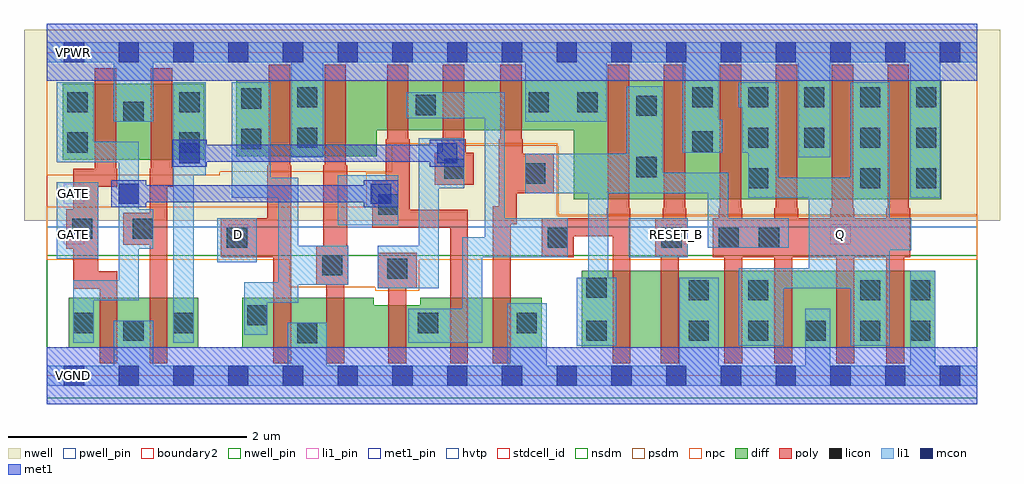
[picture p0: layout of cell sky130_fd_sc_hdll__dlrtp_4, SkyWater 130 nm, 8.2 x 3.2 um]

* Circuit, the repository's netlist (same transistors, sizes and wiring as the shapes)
* Copyright 2020 The SkyWater PDK Authors
*
* Licensed under the Apache License, Version 2.0 (the "License");
* you may not use this file except in compliance with the License.
* You may obtain a copy of the License at
*
*     https://www.apache.org/licenses/LICENSE-2.0
*
* Unless required by applicable law or agreed to in writing, software
* distributed under the License is distributed on an "AS IS" BASIS,
* WITHOUT WARRANTIES OR CONDITIONS OF ANY KIND, either express or implied.
* See the License for the specific language governing permissions and
* limitations under the License.
*
* SPDX-License-Identifier: Apache-2.0

.SUBCKT sky130_fd_sc_hdll__dlrtp_4 D GATE RESET_B VGND VNB VPB VPWR Q
*.PININFO D:I GATE:I RESET_B:I VGND:I VNB:I VPB:I VPWR:I Q:O
MI635 clkpos clkneg VPWR VPB sky130_fd_pr__pfet_01v8_hvt m=1 w=0.64U l=0.18U mult=1
+ sa=0.265 sb=0.265 sd=0.28 area=0.063 perim=1.14
MI17 M0 clkneg net54 VPB sky130_fd_pr__pfet_01v8_hvt m=1 w=0.42U l=0.18U mult=1
+ sa=0.265 sb=0.265 sd=0.28 area=0.063 perim=1.14
MI650 Q m1 VPWR VPB sky130_fd_pr__pfet_01v8_hvt m=4 w=1.0U l=0.18U mult=1 sa=0.265
+ sb=0.265 sd=0.28 area=0.063 perim=1.14
MI633 clkneg GATE VPWR VPB sky130_fd_pr__pfet_01v8_hvt m=1 w=0.64U l=0.18U mult=1
+ sa=0.265 sb=0.265 sd=0.28 area=0.063 perim=1.14
MI658 m1 RESET_B VPWR VPB sky130_fd_pr__pfet_01v8_hvt m=1 w=1.0U l=0.18U mult=1
+ sa=0.265 sb=0.265 sd=0.28 area=0.063 perim=1.14
MI18 net54 db VPWR VPB sky130_fd_pr__pfet_01v8_hvt m=1 w=0.64U l=0.18U mult=1 sa=0.265
+ sb=0.265 sd=0.28 area=0.063 perim=1.14
MI653 net50 m1 VPWR VPB sky130_fd_pr__pfet_01v8_hvt m=1 w=0.42U l=0.18U mult=1
+ sa=0.265 sb=0.265 sd=0.28 area=0.063 perim=1.14
MI651 M0 clkpos net50 VPB sky130_fd_pr__pfet_01v8_hvt m=1 w=0.42U l=0.18U mult=1
+ sa=0.265 sb=0.265 sd=0.28 area=0.063 perim=1.14
MI655 m1 M0 VPWR VPB sky130_fd_pr__pfet_01v8_hvt m=1 w=1.0U l=0.18U mult=1 sa=0.265
+ sb=0.265 sd=0.28 area=0.063 perim=1.14
MI638 db D VPWR VPB sky130_fd_pr__pfet_01v8_hvt m=1 w=0.64U l=0.18U mult=1 sa=0.265
+ sb=0.265 sd=0.28 area=0.063 perim=1.14
MI634 clkneg GATE VGND VNB sky130_fd_pr__nfet_01v8 m=1 w=0.42U l=0.15U mult=1 sa=0.265
+ sb=0.265 sd=0.28 area=0.063 perim=1.14
MI649 Q m1 VGND VNB sky130_fd_pr__nfet_01v8 m=4 w=0.65U l=0.15U mult=1 sa=0.265
+ sb=0.265 sd=0.28 area=0.063 perim=1.14
MI657 net93 RESET_B VGND VNB sky130_fd_pr__nfet_01v8 m=1 w=0.65U l=0.15U mult=1
+ sa=0.265 sb=0.265 sd=0.28 area=0.063 perim=1.14
MI652 M0 clkneg net101 VNB sky130_fd_pr__nfet_01v8 m=1 w=0.42U l=0.15U mult=1 sa=0.265
+ sb=0.265 sd=0.28 area=0.063 perim=1.14
MI654 net101 m1 VGND VNB sky130_fd_pr__nfet_01v8 m=1 w=0.42U l=0.15U mult=1 sa=0.265
+ sb=0.265 sd=0.28 area=0.063 perim=1.14
MI656 m1 M0 net93 VNB sky130_fd_pr__nfet_01v8 m=1 w=0.65U l=0.15U mult=1 sa=0.265
+ sb=0.265 sd=0.28 area=0.063 perim=1.14
MI636 clkpos clkneg VGND VNB sky130_fd_pr__nfet_01v8 m=1 w=0.42U l=0.15U mult=1
+ sa=0.265 sb=0.265 sd=0.28 area=0.063 perim=1.14
MI637 db D VGND VNB sky130_fd_pr__nfet_01v8 m=1 w=0.42U l=0.15U mult=1 sa=0.265
+ sb=0.265 sd=0.28 area=0.063 perim=1.14
MI19 M0 clkpos net81 VNB sky130_fd_pr__nfet_01v8 m=1 w=0.36U l=0.15U mult=1 sa=0.265
+ sb=0.265 sd=0.28 area=0.063 perim=1.14
MI20 net81 db VGND VNB sky130_fd_pr__nfet_01v8 m=1 w=0.42U l=0.15U mult=1 sa=0.265
+ sb=0.265 sd=0.28 area=0.063 perim=1.14
.ENDS sky130_fd_sc_hdll__dlrtp_4

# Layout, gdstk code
import gdstk
lib = gdstk.Library(unit=1e-6, precision=1e-09)
def R(c, l, rs):  # rectangles x0, y0, x1, y1
    for r in rs: c.add(gdstk.rectangle(r[:2], r[2:], *l))
def A(c, l, x, y, w, h, nx, ny, dx, dy):  # array of equal rectangles
    R(c, l, [(x+i*dx, y+j*dy, x+i*dx+w, y+j*dy+h) for i in range(nx) for j in range(ny)])
def P(c, l, *ps):  # polygons
    for p in ps: c.add(gdstk.Polygon(p, *l))
nwell_pin = (64, 16)
nwell = (64, 20)
diff = (65, 20)
poly = (66, 20)
licon = (66, 44)
li1_pin = (67, 16)
li1 = (67, 20)
mcon = (67, 44)
met1_pin = (68, 16)
met1 = (68, 20)
hvtp = (78, 44)
stdcell_id = (81, 4)
nsdm = (93, 44)
psdm = (94, 20)
npc = (95, 20)
pwell_pin = (122, 16)
boundary2 = (236, 0)

sky130_fd_sc_hdll__dlrtp = lib.new_cell('sky130_fd_sc_hdll__dlrtp_4')
R(sky130_fd_sc_hdll__dlrtp, nwell_pin, [(0.145,2.635,0.315,2.805), (0.145,2.635,0.315,2.805)])
R(sky130_fd_sc_hdll__dlrtp, nwell, [(-0.19,1.305,8.01,2.91)])
R(sky130_fd_sc_hdll__dlrtp, diff, [(0.185,0.235,1.275,0.655), (4.495,0.235,7.465,0.885), (0.135,1.815,1.325,2.455)])
P(sky130_fd_sc_hdll__dlrtp, diff, [(7.515,2.485),(1.595,2.485),(1.595,1.845),(2.775,1.845),(2.775,2.065),(4.43,2.065),(4.43,1.485),(7.515,1.485)],
  [(4.16,0.655),(3.14,0.655),(3.14,0.595),(2.75,0.595),(2.75,0.655),(1.645,0.655),(1.645,0.235),(4.16,0.235)])
R(sky130_fd_sc_hdll__dlrtp, poly, [(5.695,0.105,5.845,0.995), (6.115,0.105,6.265,0.995), (6.635,0.105,6.785,0.995), (7.055,0.105,7.205,0.995), (5.595,0.995,7.255,1.325)])
P(sky130_fd_sc_hdll__dlrtp, poly, [(0.595,1.74),(0.585,1.74),(0.585,2.585),(0.405,2.585),(0.405,1.74),(0.225,1.74),(0.225,1.4),(0.165,1.4),(0.165,1.07),(0.225,1.07),(0.225,0.73),(0.445,0.73),(0.445,0.105),(0.595,0.105),(0.595,0.88),(0.435,0.88),(0.435,1.59),(0.595,1.59)],
  [(1.065,1.74),(1.055,1.74),(1.055,2.585),(0.875,2.585),(0.875,1.74),(0.865,1.74),(0.865,1.37),(0.645,1.37),(0.645,1.1),(0.865,1.1),(0.865,0.105),(1.015,0.105),(1.015,1.59),(1.065,1.59)],
  [(2.055,1.77),(2.045,1.77),(2.045,2.615),(1.865,2.615),(1.865,1.77),(1.855,1.77),(1.855,1.325),(1.465,1.325),(1.465,0.995),(1.905,0.995),(1.905,0.105),(2.055,0.105)],
  [(2.535,1.095),(2.525,1.095),(2.525,1.77),(2.515,1.77),(2.515,2.615),(2.335,2.615),(2.335,1.77),(2.325,1.77),(2.325,1.095),(2.265,1.095),(2.265,0.765),(2.35,0.765),(2.35,0.105),(2.5,0.105),(2.5,0.765),(2.535,0.765)],
  [(3.11,1.035),(2.78,1.035),(2.78,0.735),(2.87,0.735),(2.87,0.105),(3.02,0.105),(3.02,0.735),(3.11,0.735)],
  [(3.54,1.395),(3.05,1.395),(3.05,1.99),(3.04,1.99),(3.04,2.615),(2.86,2.615),(2.86,1.99),(2.85,1.99),(2.85,1.635),(2.735,1.635),(2.735,1.245),(3.39,1.245),(3.39,0.105),(3.54,0.105)],
  [(3.59,1.875),(3.52,1.875),(3.52,1.99),(3.51,1.99),(3.51,2.615),(3.33,2.615),(3.33,1.99),(3.32,1.99),(3.32,1.875),(3.26,1.875),(3.26,1.605),(3.59,1.605)],
  [(4.26,1.865),(4,1.865),(4,1.99),(3.99,1.99),(3.99,2.615),(3.81,2.615),(3.81,1.99),(3.8,1.99),(3.8,1.425),(3.75,1.425),(3.75,0.105),(3.9,0.105),(3.9,1.275),(3.95,1.275),(3.95,1.535),(4.26,1.535)],
  [(4.905,1.41),(4.895,1.41),(4.895,2.615),(4.715,2.615),(4.715,1.41),(4.705,1.41),(4.705,1.325),(4.16,1.325),(4.16,0.995),(4.43,0.995),(4.43,1.175),(4.755,1.175),(4.755,0.105),(4.905,0.105)],
  [(5.385,1.325),(5.375,1.325),(5.375,1.41),(5.365,1.41),(5.365,2.615),(5.185,2.615),(5.185,1.41),(5.175,1.41),(5.175,1.325),(5.115,1.325),(5.115,0.995),(5.16,0.995),(5.16,0.105),(5.31,0.105),(5.31,0.995),(5.385,0.995)],
  [(5.845,1.41),(5.835,1.41),(5.835,2.615),(5.655,2.615),(5.655,1.41),(5.645,1.41),(5.645,1.325),(5.845,1.325)],
  [(7.055,1.41),(7.065,1.41),(7.065,2.615),(7.245,2.615),(7.245,1.41),(7.255,1.41),(7.255,1.325),(7.055,1.325)],
  [(6.785,1.41),(6.775,1.41),(6.775,2.615),(6.595,2.615),(6.595,1.41),(6.585,1.41),(6.585,1.325),(6.785,1.325)],
  [(6.115,1.41),(6.125,1.41),(6.125,2.615),(6.305,2.615),(6.305,1.41),(6.315,1.41),(6.315,1.325),(6.115,1.325)])
A(sky130_fd_sc_hdll__dlrtp, licon, 5.895, 1.915, 0.17, 0.17, 4, 1, 0.47, 0)
A(sky130_fd_sc_hdll__dlrtp, licon, 5.425, 2.255, 0.17, 0.17, 5, 1, 0.47, 0)
R(sky130_fd_sc_hdll__dlrtp, licon, [(2.105,0.275,2.275,0.445), (0.645,0.295,0.815,0.465), (4.535,0.295,4.705,0.465), (5.395,0.295,5.565,0.465), (5.895,0.295,6.065,0.465), (6.375,0.295,6.545,0.465), (6.835,0.295,7.005,0.465), (7.255,0.295,7.425,0.465), (0.225,0.36,0.395,0.53), (1.065,0.36,1.235,0.53), (3.12,0.36,3.29,0.53), (3.95,0.36,4.12,0.53), (1.685,0.425,1.855,0.595), (5.395,0.635,5.565,0.805), (5.895,0.635,6.065,0.805), (6.835,0.635,7.005,0.805), (7.255,0.635,7.425,0.805), (4.535,0.655,4.705,0.825), (2.86,0.815,3.03,0.985), (2.315,0.845,2.485,1.015), (1.515,1.075,1.685,1.245), (4.21,1.075,4.38,1.245), (5.165,1.075,5.335,1.245), (5.645,1.075,5.815,1.245), (5.985,1.075,6.155,1.245), (0.215,1.15,0.385,1.32), (0.725,1.15,0.895,1.32), (2.785,1.355,2.955,1.525), (5.895,1.575,6.065,1.745), (6.835,1.575,7.005,1.745), (7.305,1.575,7.475,1.745), (4.02,1.615,4.19,1.785), (3.34,1.655,3.51,1.825), (4.955,1.67,5.125,1.84), (0.175,1.875,0.345,2.045), (1.115,1.875,1.285,2.045), (5.425,1.885,5.595,2.055), (1.635,1.905,1.805,2.075), (2.105,1.915,2.275,2.085), (0.645,2.135,0.815,2.305), (4.955,2.185,5.125,2.355), (3.1,2.19,3.27,2.36), (0.175,2.215,0.345,2.385), (1.115,2.215,1.285,2.385), (4.05,2.215,4.22,2.385), (4.46,2.215,4.63,2.385), (1.635,2.245,1.805,2.415), (2.105,2.255,2.275,2.425)])
R(sky130_fd_sc_hdll__dlrtp, li1_pin, [(0.145,1.105,0.315,1.275), (1.525,1.105,1.695,1.275), (5.205,1.105,5.375,1.275), (6.585,1.105,6.755,1.275), (0.145,1.445,0.315,1.615)])
R(sky130_fd_sc_hdll__dlrtp, li1, [(6.375,0.085,6.585,0.565), (7.255,0.085,7.465,0.885), (1.435,0.955,1.765,1.325), (0.085,0.985,0.435,1.625), (4.89,0.995,5.385,1.325), (2.445,1.265,2.955,1.685), (7.255,1.495,7.51,2.635), (6.315,1.835,6.585,2.635)])
P(sky130_fd_sc_hdll__dlrtp, li1, [(0.895,1.4),(0.775,1.4),(0.775,1.965),(0.395,1.965),(0.395,2.465),(0.085,2.465),(0.085,1.795),(0.605,1.795),(0.605,0.805),(0.225,0.805),(0.225,0.28),(0.395,0.28),(0.395,0.635),(0.775,0.635),(0.775,1.07),(0.895,1.07)],
  [(7.82,0.085),(5.645,0.085),(5.645,0.825),(5.315,0.825),(5.315,0.085),(4.2,0.085),(4.2,0.61),(3.87,0.61),(3.87,0.085),(2.355,0.085),(2.355,0.445),(2.025,0.445),(2.025,0.085),(0.895,0.085),(0.895,0.465),(0.565,0.465),(0.565,0.085),(0,0.085),(0,-0.085),(7.82,-0.085)],
  [(1.335,2.465),(1.065,2.465),(1.065,0.28),(1.235,0.28),(1.235,1.685),(1.335,1.685)],
  [(7.265,1.325),(7.085,1.325),(7.085,2.465),(6.755,2.465),(6.755,1.665),(6.145,1.665),(6.145,2.465),(5.815,2.465),(5.815,2.255),(5.845,2.255),(5.845,1.875),(5.895,1.875),(5.895,1.495),(6.405,1.495),(6.405,0.905),(5.815,0.905),(5.815,0.255),(6.195,0.255),(6.195,0.735),(6.755,0.735),(6.755,0.255),(7.085,0.255),(7.085,1.055),(7.265,1.055)],
  [(7.82,2.805),(0,2.805),(0,2.635),(0.565,2.635),(0.565,2.135),(0.895,2.135),(0.895,2.635),(2.055,2.635),(2.055,1.835),(2.325,1.835),(2.325,2.635),(4.02,2.635),(4.02,2.135),(4.705,2.135),(4.705,2.635),(5.345,2.635),(5.345,1.875),(5.675,1.875),(5.675,2.15),(5.645,2.15),(5.645,2.635),(7.82,2.635)],
  [(2.535,1.095),(2.115,1.095),(2.115,1.665),(1.885,1.665),(1.885,2.465),(1.555,2.465),(1.555,1.495),(1.945,1.495),(1.945,0.785),(1.66,0.785),(1.66,0.345),(1.855,0.345),(1.855,0.615),(2.115,0.615),(2.115,0.765),(2.535,0.765)],
  [(3.51,1.995),(3.125,1.995),(3.125,1.095),(2.78,1.095),(2.78,0.735),(3.295,0.735),(3.295,1.575),(3.51,1.575)],
  [(4.38,1.325),(3.85,1.325),(3.85,2.385),(3.02,2.385),(3.02,2.165),(3.68,2.165),(3.68,1.165),(3.49,1.165),(3.49,0.565),(3.04,0.565),(3.04,0.28),(3.66,0.28),(3.66,0.995),(4.38,0.995)],
  [(6.235,1.325),(5.725,1.325),(5.725,1.705),(5.175,1.705),(5.175,2.435),(4.875,2.435),(4.875,1.865),(4.02,1.865),(4.02,1.535),(4.55,1.535),(4.55,0.825),(4.455,0.825),(4.455,0.255),(4.785,0.255),(4.785,0.825),(4.72,0.825),(4.72,1.535),(5.555,1.535),(5.555,1.075),(6.235,1.075)])
A(sky130_fd_sc_hdll__dlrtp, mcon, 0.145, -0.085, 0.17, 0.17, 17, 2, 0.46, 2.72)
R(sky130_fd_sc_hdll__dlrtp, mcon, [(0.605,1.445,0.775,1.615), (2.725,1.445,2.895,1.615), (1.115,1.785,1.285,1.955), (3.28,1.785,3.45,1.955)])
R(sky130_fd_sc_hdll__dlrtp, met1_pin, [(0.145,-0.085,0.315,0.085), (0.145,2.635,0.315,2.805)])
P(sky130_fd_sc_hdll__dlrtp, met1, [(2.955,1.645),(2.665,1.645),(2.665,1.6),(0.835,1.6),(0.835,1.645),(0.545,1.645),(0.545,1.415),(0.835,1.415),(0.835,1.46),(2.665,1.46),(2.665,1.415),(2.955,1.415)],
  [(3.51,1.985),(3.22,1.985),(3.22,1.94),(1.345,1.94),(1.345,1.985),(1.055,1.985),(1.055,1.755),(1.345,1.755),(1.345,1.8),(3.22,1.8),(3.22,1.755),(3.51,1.755)])
R(sky130_fd_sc_hdll__dlrtp, hvtp, [(0,1.25,7.82,2.72)])
R(sky130_fd_sc_hdll__dlrtp, stdcell_id, [(0,0,7.82,2.72)])
R(sky130_fd_sc_hdll__dlrtp, nsdm, [(0,-0.19,7.82,1.015)])
P(sky130_fd_sc_hdll__dlrtp, psdm, [(7.82,2.91),(0,2.91),(0,1.685),(1.455,1.685),(1.455,1.715),(2.905,1.715),(2.905,1.935),(4.3,1.935),(4.3,1.355),(7.82,1.355)])
P(sky130_fd_sc_hdll__dlrtp, npc, [(7.82,1.345),(4.29,1.345),(4.29,1.955),(2.85,1.955),(2.85,1.705),(2.685,1.705),(2.685,1.42),(0,1.42),(0,0.975),(2.04,0.975),(2.04,0.745),(2.76,0.745),(2.76,0.715),(3.13,0.715),(3.13,0.975),(7.82,0.975)])
R(sky130_fd_sc_hdll__dlrtp, pwell_pin, [(0.145,-0.085,0.315,0.085), (0.145,-0.085,0.315,0.085)])
R(sky130_fd_sc_hdll__dlrtp, boundary2, [(0,0,7.82,2.72)])
sky130_fd_sc_hdll__dlrtp.add(gdstk.FlexPath([(0,2.72),(7.82,2.72)], 0.48, ends="flush", simple_path=True, layer=68, datatype=20))  # met1
sky130_fd_sc_hdll__dlrtp.add(gdstk.FlexPath([(0,0),(7.82,0)], 0.48, ends="flush", simple_path=True, layer=68, datatype=20))  # met1
sky130_fd_sc_hdll__dlrtp.add(gdstk.Label('RESET_B', (5.29,1.19), layer=67, texttype=5))
sky130_fd_sc_hdll__dlrtp.add(gdstk.Label('D', (1.61,1.19), layer=67, texttype=5))
sky130_fd_sc_hdll__dlrtp.add(gdstk.Label('GATE', (0.23,1.19), layer=67, texttype=5))
sky130_fd_sc_hdll__dlrtp.add(gdstk.Label('GATE', (0.23,1.53), layer=67, texttype=5))
sky130_fd_sc_hdll__dlrtp.add(gdstk.Label('Q', (6.67,1.19), layer=67, texttype=5))
sky130_fd_sc_hdll__dlrtp.add(gdstk.Label('VGND', (0.23,0), layer=68, texttype=5))
sky130_fd_sc_hdll__dlrtp.add(gdstk.Label('VPWR', (0.23,2.72), layer=68, texttype=5))
sky130_fd_sc_hdll__dlrtp.add(gdstk.Label('VPB', (0.23,2.72), layer=64, texttype=5))
sky130_fd_sc_hdll__dlrtp.add(gdstk.Label('VPB', (0.23,2.72), layer=64, texttype=5))
sky130_fd_sc_hdll__dlrtp.add(gdstk.Label('VNB', (0.23,0), layer=64, texttype=59))
sky130_fd_sc_hdll__dlrtp.add(gdstk.Label('VNB', (0.23,0), layer=64, texttype=59))
sky130_fd_sc_hdll__dlrtp.add(gdstk.Label('dlrtp_4', (0,0), layer=83, texttype=44))

lib.write_gds('sky130_fd_sc_hdll__dlrtp_4.gds')
